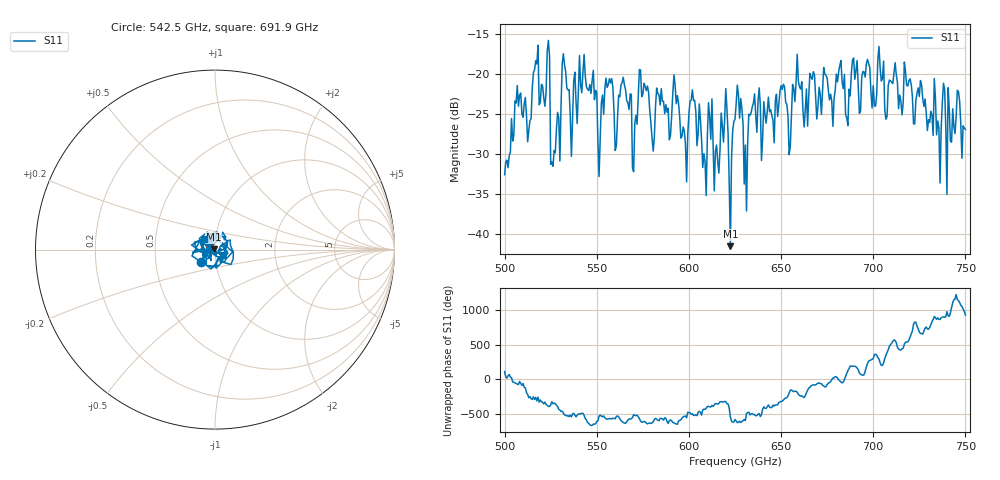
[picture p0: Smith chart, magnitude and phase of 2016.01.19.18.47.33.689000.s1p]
!Created with skrf (http://scikit-rf.org).
# GHz S RI R 50.0
!freq ReS11 ImS11
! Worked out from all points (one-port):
!   401 points, 500 GHz to 750 GHz, reference 50 ohm
!   lowest |S11| = -41.6 dB at 622.5 GHz (marker M1), VSWR 1.02, Z = 49.2 + j0.182 ohm
!   |S11| at or under -10 dB: start of sweep to end of sweep
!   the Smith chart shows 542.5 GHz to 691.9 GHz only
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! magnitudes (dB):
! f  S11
! 500 GHz  -32.6
! 506.9 GHz  -21.4
! 513.1 GHz  -27.1
! 516.9 GHz  -18.3
! 523.1 GHz  -17.1
! 526.2 GHz  -31.6
! 531.2 GHz  -18.7
! 543.8 GHz  -20.2
! 551.9 GHz  -28.0
! 555.6 GHz  -21.7
! 562.5 GHz  -22.8
! 570.6 GHz  -26.2
! 574.4 GHz  -22.8
! 580 GHz  -28.0
! 593.8 GHz  -22.7
! 597.5 GHz  -27.1
! 602.5 GHz  -23.3
! 608.1 GHz  -30.0
! 619.4 GHz  -25.7
! 622.5 GHz  -41.6
! 625 GHz  -25.7
! 627.5 GHz  -25.5
! 630.6 GHz  -28.9
! 634.4 GHz  -24.1
! 656.2 GHz  -21.3
! 687.5 GHz  -22.7
! 718.8 GHz  -21.5
! 750 GHz  -26.9
